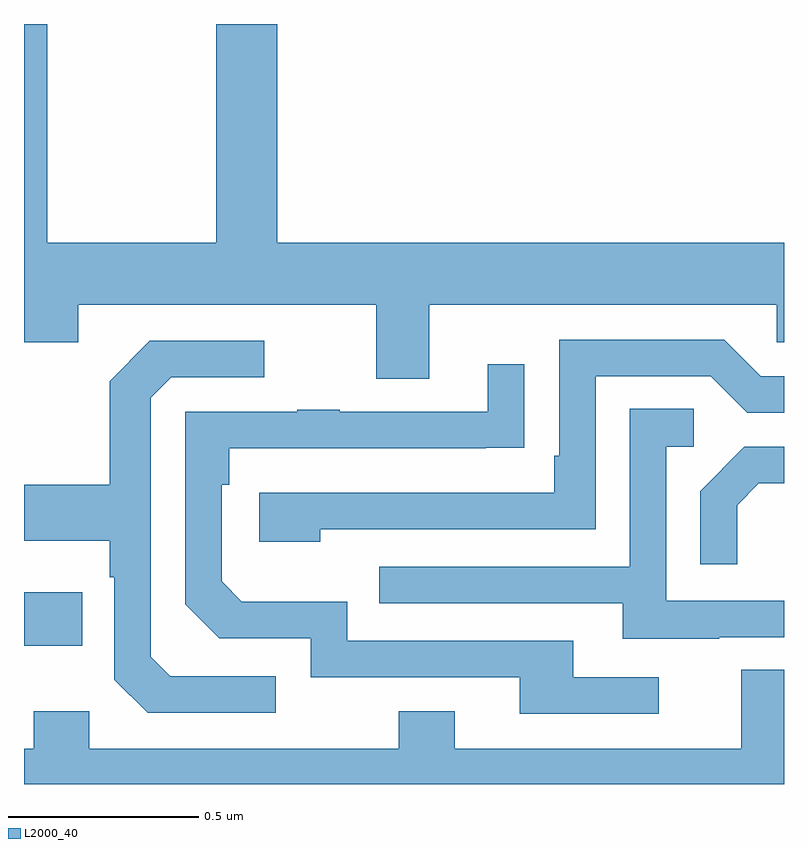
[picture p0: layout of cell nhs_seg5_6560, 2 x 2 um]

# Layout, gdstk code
import gdstk
lib = gdstk.Library(unit=1e-6, precision=1e-09)
def R(c, l, rs):  # rectangles x0, y0, x1, y1
    for r in rs: c.add(gdstk.rectangle(r[:2], r[2:], *l))
def P(c, l, *ps):  # polygons
    for p in ps: c.add(gdstk.Polygon(p, *l))
L2000_40 = (2000, 40)

nhs_seg5_6560 = lib.new_cell('nhs_seg5_6560')
R(nhs_seg5_6560, L2000_40, [(197,889.163,197.153,889.303)])
P(nhs_seg5_6560, L2000_40, [(198.067,890.06),(198.981,890.06),(198.981,889.962),(199,889.962),(199,890.224),(197.666,890.224),(197.666,890.799),(197.506,890.799),(197.506,890.224),(197.061,890.224),(197.061,890.799),(197,890.799),(197,889.961),(197.143,889.961),(197.143,890.06),(197.927,890.06),(197.927,889.866),(198.067,889.866)],
  [(197.78,889.47),(198.504,889.47),(198.504,889.872),(198.807,889.872),(198.903,889.776),(199,889.776),(199,889.872),(198.939,889.872),(198.843,889.968),(198.408,889.968),(198.408,889.663),(198.395,889.663),(198.395,889.566),(197.619,889.566),(197.619,889.436),(197.78,889.436)],
  [(197.662,889.083),(197.385,889.083),(197.334,889.134),(197.334,889.815),(197.388,889.869),(197.632,889.869),(197.632,889.965),(197.331,889.965),(197.226,889.859),(197.226,889.587),(197,889.587),(197,889.439),(197.226,889.439),(197.226,889.343),(197.238,889.343),(197.238,889.074),(197.325,888.987),(197.662,888.987)],
  [(198.67,889.08),(198.445,889.08),(198.445,889.176),(197.85,889.176),(197.85,889.279),(197.573,889.279),(197.52,889.332),(197.52,889.586),(197.54,889.586),(197.54,889.683),(198.215,889.683),(198.215,889.684),(198.317,889.684),(198.317,889.903),(198.221,889.903),(198.221,889.779),(197.831,889.779),(197.831,889.784),(197.719,889.784),(197.719,889.779),(197.424,889.779),(197.424,889.272),(197.514,889.182),(197.754,889.182),(197.754,889.08),(198.305,889.08),(198.305,888.984),(198.67,888.984)],
  [(198.829,889.185),(199,889.185),(199,889.281),(198.69,889.281),(198.69,889.686),(198.763,889.686),(198.763,889.787),(198.594,889.787),(198.594,889.371),(197.935,889.371),(197.935,889.275),(198.575,889.275),(198.575,889.181),(198.829,889.181)],
  [(198.877,889.533),(198.934,889.59),(199,889.59),(199,889.686),(198.896,889.686),(198.78,889.57),(198.78,889.377),(198.877,889.377)],
  [(199,889.1),(198.887,889.1),(198.887,888.892),(198.133,888.892),(198.133,888.991),(197.986,888.991),(197.986,888.892),(197.172,888.892),(197.172,888.991),(197.026,888.991),(197.026,888.892),(197,888.892),(197,888.799),(199,888.799)])

lib.write_gds('nhs_seg5_6560.gds')
